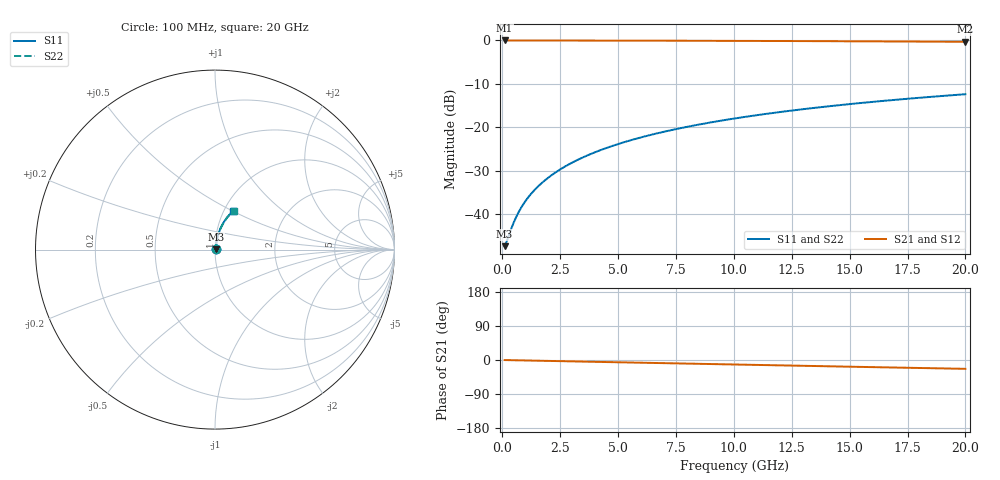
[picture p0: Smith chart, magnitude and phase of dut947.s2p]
! Touchstone file exported from HFSS 2026.1.0
!  File:  C:/ffzhzh/LocalFiles/Ansys_Project_Files/temp_train_BSMRDL_947_1783172183_22436.aedt
!  Generated:  09:37:41 PM Jul  4, 2026
!  Design:  BSMRDL
!  Project:  temp_train_BSMRDL_947_1783172183_22436
! Variables:
!  h_bsmrdl = 2.11um
!  h_ox = 20um
!  h_rdl = 5um
!  h_sub = 80um
!  h_tmrdl = 5um
!  h_tsv = 80um
!  h_via = 3um
!  l_bsmrdl = 313.68um
!  l_sub = 713.68um
!  l_tmrdl = 200um
!  m_sub = 200um
!  pitch = 31.6um
!  r_tsv = 6um
!  s_tmrdl = 10um
!  w_bsmrdl = 13.8um
!  w_sub = 500um
!  w_tmrdl = 12um
!  x_tsv_center1 = 206um
!  x_tsv_center2 = 533.48um
!  x_tsv_center3 = 745.48um
!  x_tsv_center4 = 1072.96um
!  x_tsv_center5 = 1284.96um
!  x_tsv_center6 = 1612.44um
# GHz S MA R 50.000000
! Terminal data exported
! Port[1] = BSM_RDL1_1_T1
! Port[2] = BSM_RDL1_1_T2
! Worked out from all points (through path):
!   200 points, 100 MHz to 20 GHz, reference 50 ohm
!   highest |S21| = -0.04 dB at 100 MHz (marker M1); lowest = -0.3 dB at 20 GHz (marker M2)
!   group delay of S21, straight-line fit = 3.24 ps
!   lowest |S11| = -47.3 dB at 100 MHz (marker M3), VSWR 1.01, Z = 50.4 + j0.14 ohm
!   |S11| at or under -10 dB: start of sweep to end of sweep
!   |S22| runs from -47.3 to -12.4 dB; largest |S21 - S12| = 5e-15
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0.1  0.004304 18.9  0.9959 -0.1  0.9959 -0.1  0.004304 18.9
! Gamma 0 0 0 0
! Port Impedance 50 0 50 0
0.2  0.004965 34.0  0.9959 -0.3  0.9959 -0.3  0.004965 34.0
0.4  0.006967 52.2  0.9958 -0.5  0.9958 -0.5  0.006966 52.2
0.5  0.008119 57.4  0.9957 -0.6  0.9957 -0.6  0.008119 57.4
0.7  0.01052 64.1  0.9955 -0.9  0.9955 -0.9  0.01052 64.1
0.8  0.01174 66.4  0.9954 -1.0  0.9954 -1.0  0.01175 66.4
1  0.0142 69.6  0.9952 -1.2  0.9952 -1.2  0.0142 69.6
1.3  0.01789 72.8  0.995 -1.6  0.995 -1.6  0.0179 72.8
1.7  0.02284 75.4  0.9948 -2.1  0.9948 -2.1  0.02285 75.4
2.2  0.02906 77.2  0.9945 -2.7  0.9945 -2.7  0.02907 77.2
2.8  0.03657 78.4  0.9942 -3.4  0.9942 -3.4  0.03657 78.4
3.5  0.04535 79.1  0.9937 -4.2  0.9937 -4.2  0.04536 79.0
4.2  0.05415 79.2  0.9931 -5.1  0.9931 -5.1  0.05415 79.2
5  0.06419 79.0  0.9924 -6.0  0.9924 -6.0  0.0642 79.0
5.9  0.07546 78.6  0.9914 -7.1  0.9914 -7.1  0.07546 78.6
6.8  0.08668 78.0  0.9903 -8.1  0.9903 -8.1  0.08668 77.9
8.3  0.1052 76.7  0.9882 -9.9  0.9882 -9.9  0.1052 76.7
10.1  0.1272 75.0  0.9852 -12.0  0.9852 -12.0  0.1272 74.9
11.7  0.1464 73.4  0.9822 -13.9  0.9822 -13.9  0.1464 73.3
13.4  0.1664 71.6  0.9786 -15.9  0.9786 -15.9  0.1664 71.5
16.7  0.2041 68.1  0.9706 -19.6  0.9706 -19.6  0.2041 68.0
20  0.24 64.6  0.9616 -23.3  0.9616 -23.3  0.24 64.4
